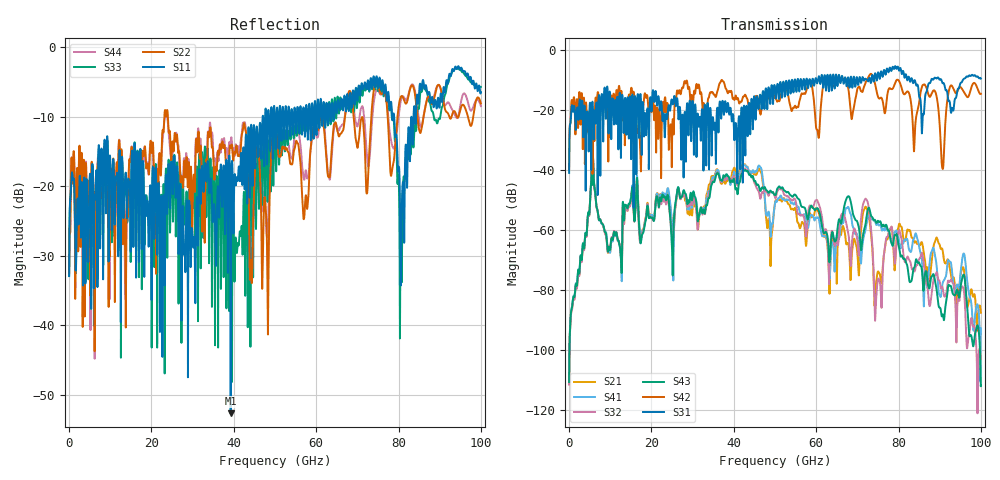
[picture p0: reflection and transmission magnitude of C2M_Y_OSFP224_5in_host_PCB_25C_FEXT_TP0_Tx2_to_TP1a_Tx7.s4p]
# GHz S RI R 45
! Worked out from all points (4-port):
!   4000 points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, 25 MHz to 100 GHz, reference 45 ohm
!   strongest paths, dB at 25 MHz, 25.02 GHz, 50.02 GHz, 75.03 GHz, 100 GHz:
!     S31: -40.9, -16.7, -12.6, -7.5, -9.5
!     S42: -39.6, -29.2, -16.0, -15.6, -14.6
!     S43: -110.6, -66.6, -48.3, -56.9, -111.8
!     S32: -111.5, -61.6, -49.2, -76.3, -102.9
!     S41: -110.3, -57.4, -51.1, -57.9, -92.7
!     S21: -110.8, -56.8, -50.8, -73.8, -87.5
!   lowest |S11| = -52.7 dB at 39.25 GHz (marker M1), VSWR 1.00, Z = 45 + j0.209 ohm
!   |S11| at or under -10 dB: start of sweep to 47.02 GHz; 47.11 GHz to 47.61 GHz (495 MHz wide, 1.05 % of centre); 78.94 GHz to 83.65 GHz (4.706 GHz wide, 5.79 % of centre) (the widest 3 of 29)
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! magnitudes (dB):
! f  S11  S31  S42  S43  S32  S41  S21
! 25 MHz  -32.9  -40.9  -39.6  -110.6  -111.5  -110.3  -110.8
! 5.725 GHz  -17.0  -17.6  -40.3  -40.1  -40.3  -40.1  -40.2
! 12.43 GHz  -17.5  -15.8  -16.7  -66.2  -65.8  -66.2  -66.1
! 39.25 GHz  -52.7  -19.5  -13.8  -44.0  -44.0  -44.8  -43.4
! 86.25 GHz  -5.9  -19.8  -11.4  -76.9  -72.4  -80.8  -68.7
! 90.67 GHz  -7.6  -11.0  -39.4  -88.2  -78.9  -78.0  -66.5
! 100 GHz  -6.5  -9.5  -14.6  -111.8  -102.9  -92.7  -87.5
